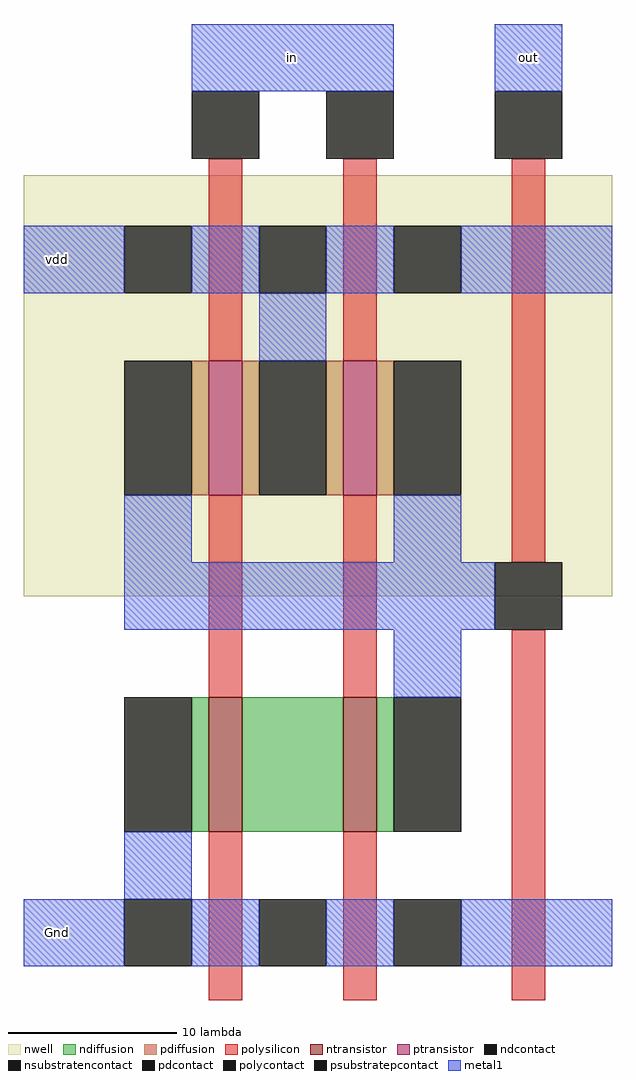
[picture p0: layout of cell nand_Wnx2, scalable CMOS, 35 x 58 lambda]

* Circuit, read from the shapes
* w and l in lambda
.subckt nand_Wnx2 Gnd in out vdd
M1 n1 in Gnd Gnd nfet w=8 l=2
M2 out in n1 Gnd nfet w=8 l=2
M3 vdd in out vdd pfet w=8 l=2 m=2
.ends

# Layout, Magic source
magic
tech scmos
<< nwell >>
rect -14 1 21 26
<< ntransistor >>
rect -3 -13 -1 -5
rect 5 -13 7 -5
<< ptransistor >>
rect -3 7 -1 15
rect 5 7 7 15
<< ndiffusion >>
rect -4 -13 -3 -5
rect -1 -13 5 -5
rect 7 -13 8 -5
<< pdiffusion >>
rect -4 7 -3 15
rect -1 7 0 15
rect 4 7 5 15
rect 7 7 8 15
<< ndcontact >>
rect -8 -13 -4 -5
rect 8 -13 12 -5
<< pdcontact >>
rect -8 7 -4 15
rect 0 7 4 15
rect 8 7 12 15
<< psubstratepcontact >>
rect -8 -21 -4 -17
rect 0 -21 4 -17
rect 8 -21 12 -17
<< nsubstratencontact >>
rect -8 19 -4 23
rect 0 19 4 23
rect 8 19 12 23
<< polysilicon >>
rect -3 15 -1 27
rect 5 15 7 27
rect -3 -5 -1 7
rect 5 -5 7 7
rect 15 3 17 27
rect -3 -23 -1 -13
rect 5 -23 7 -13
rect 15 -23 17 -1
<< polycontact >>
rect -4 27 0 31
rect 4 27 8 31
rect 14 27 18 31
rect 14 -1 18 3
<< metal1 >>
rect -4 31 8 35
rect 14 31 18 35
rect -14 19 -8 23
rect -4 19 0 23
rect 4 19 8 23
rect 12 19 21 23
rect 0 15 4 19
rect -8 3 -4 7
rect 8 3 12 7
rect -8 -1 14 3
rect 8 -5 12 -1
rect -8 -17 -4 -13
rect -14 -21 -8 -17
rect -4 -21 0 -17
rect 4 -21 8 -17
rect 12 -21 21 -17
<< labels >>
rlabel metal1 14 31 18 35 6 out
rlabel metal1 0 31 4 35 5 in
rlabel metal1 -14 19 -10 23 3 vdd
rlabel metal1 -14 -21 -10 -17 2 Gnd
<< end >>
